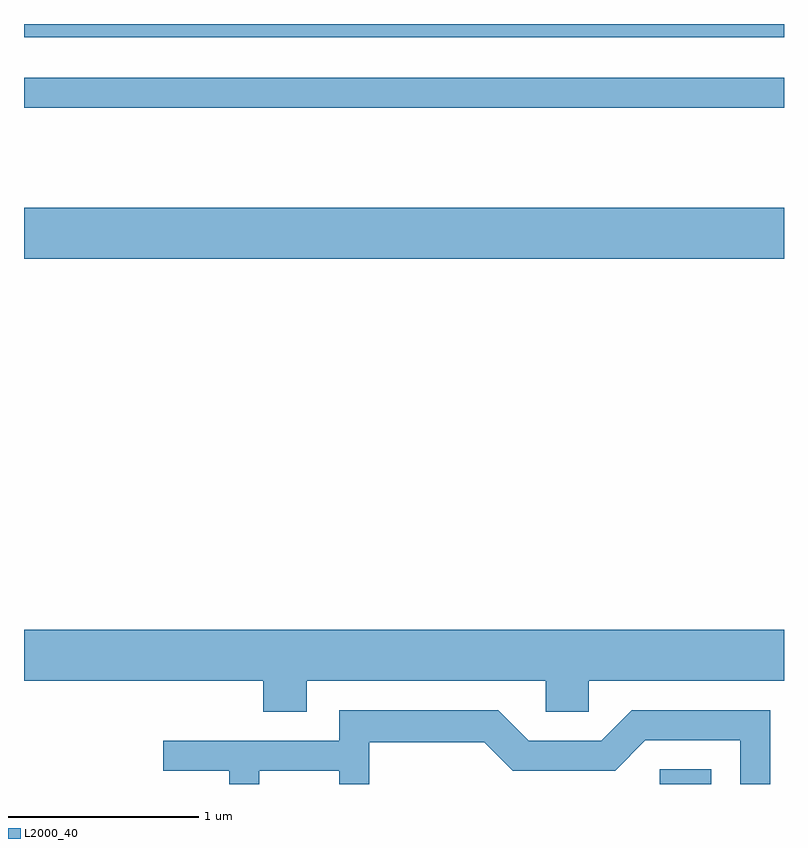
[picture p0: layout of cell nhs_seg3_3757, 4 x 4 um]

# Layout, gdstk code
import gdstk
lib = gdstk.Library(unit=1e-6, precision=1e-09)
def R(c, l, rs):  # rectangles x0, y0, x1, y1
    for r in rs: c.add(gdstk.rectangle(r[:2], r[2:], *l))
def P(c, l, *ps):  # polygons
    for p in ps: c.add(gdstk.Polygon(p, *l))
L2000_40 = (2000, 40)

nhs_seg3_3757 = lib.new_cell('nhs_seg3_3757')
R(nhs_seg3_3757, L2000_40, [(298.958,1149.892,299.229,1149.969), (295.611,1152.656,299.611,1152.924), (295.611,1153.451,299.611,1153.609), (295.611,1153.821,299.611,1153.892)])
P(nhs_seg3_3757, L2000_40, [(297.099,1150.436),(298.356,1150.436),(298.356,1150.271),(298.584,1150.271),(298.584,1150.436),(299.611,1150.436),(299.611,1150.704),(295.611,1150.704),(295.611,1150.436),(296.871,1150.436),(296.871,1150.271),(297.099,1150.271)],
  [(296.849,1149.961),(297.271,1149.961),(297.271,1149.892),(297.429,1149.892),(297.429,1150.111),(298.034,1150.111),(298.184,1149.961),(298.722,1149.961),(298.882,1150.121),(299.381,1150.121),(299.381,1149.892),(299.539,1149.892),(299.539,1150.279),(298.809,1150.279),(298.649,1150.119),(298.267,1150.119),(298.107,1150.279),(297.271,1150.279),(297.271,1150.119),(296.343,1150.119),(296.343,1149.961),(296.691,1149.961),(296.691,1149.892),(296.849,1149.892)])

lib.write_gds('nhs_seg3_3757.gds')
